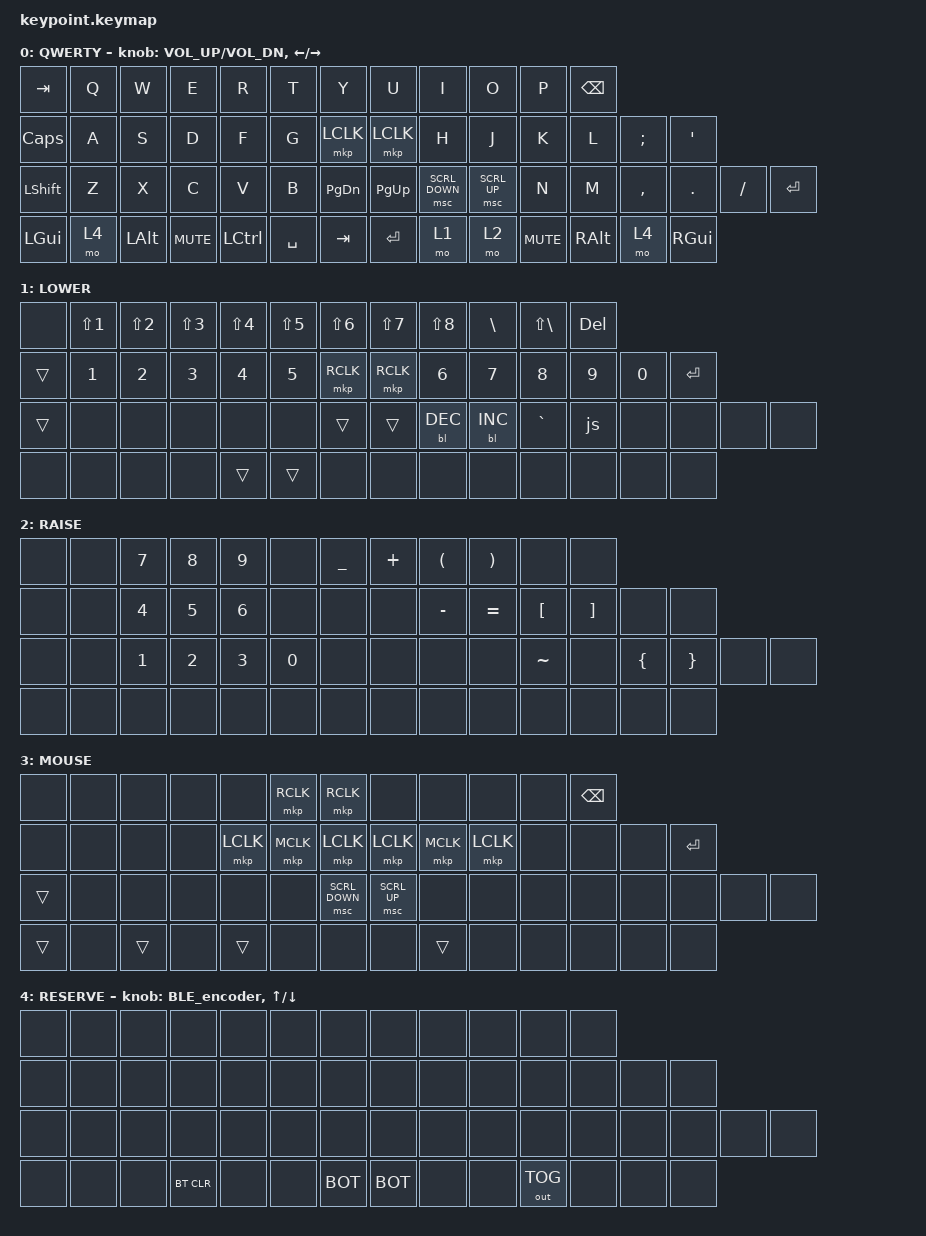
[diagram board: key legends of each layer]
/*
 * Copyright (c) 2025 ZitaoTech
 *
 * SPDX-License-Identifier: MIT
 */

#include <dt-bindings/zmk/mouse.h>
#include <behaviors.dtsi>
#include <dt-bindings/zmk/backlight.h>
#include <dt-bindings/zmk/bt.h>
#include <dt-bindings/zmk/keys.h>
#include <dt-bindings/zmk/outputs.h>
#include <dt-bindings/zmk/pointing.h>
#include <dt-bindings/zmk/ext_power.h>
#include <dt-bindings/zmk/rgb.h>

#define LOWER 1
#define RAISE 2
#define MOUSE 3
#define BOT bootloader

/ {
    behaviors {
        td0: tap_dance_0 {
            compatible = "zmk,behavior-tap-dance";
            #binding-cells = <0>;
            tapping-term-ms = <400>;
            bindings = <&mkp LCLK>, <&bt BT_CLR>;
        };
    };

    behaviors {
        tdRMCLK: tap_dance_R_LMouse {
            compatible = "zmk,behavior-tap-dance";
            #binding-cells = <0>;
            tapping-term-ms = <400>;
            bindings = <&mkp RCLK>, <&mkp MCLK>;
        };
    };

    behaviors {
        hm: homerow_mods {
            compatible = "zmk,behavior-hold-tap";
            #binding-cells = <2>;
            tapping-term-ms = <500>;
            bindings = <&kp &kp>;
        };
    };

    behaviors {
        sp_sc: behavior_spacescroll {
            compatible = "zmk,behavior-hold-tap";
            #binding-cells = <2>;
            flavor = "tap-preferred";     /* 单击优先 */
            tapping-term-ms = <200>;       /* 长按阈值 */
            bindings = <&none &kp>;        /* hold=none, tap=space */
        };
    };

    behaviors {
        LMouse_sc: behavior_LMouse_Scroll {
            compatible = "zmk,behavior-hold-tap";
            #binding-cells = <2>;
            flavor = "tap-preferred";     /* 单击优先 */
            tapping-term-ms = <200>;       /* 长按阈值 */
            bindings = <&none &mkp>;       /* hold=none, tap=Lmouse */
        };
    };

    behaviors {
        M_kp: behavior_mouse_keypress {
            compatible = "zmk,behavior-hold-tap";
            #binding-cells = <2>;
            flavor = "tap-preferred";     /* 单击优先 */
            tapping-term-ms = <200>;       /* 长按阈值 */
            bindings = <&mkp &kp>;         /* hold=mou key press, tap=key*/
        };
    };

    behaviors {
        BLE_encoder: BLE_encoder {
            compatible = "zmk,behavior-sensor-rotate";
            #sensor-binding-cells = <0>;
            bindings = <&bt BT_NXT>, <&bt BT_PRV>;
        };
    };

    combos {
        compatible = "zmk,combos";

        as {
            slow-release;
            bindings = <&kp LEFT_ALT>;
            key-positions = <13 14>;
            layers = <0>;
        };

        sd {
            slow-release;
            bindings = <&kp LEFT_GUI>;
            key-positions = <14 15>;
            layers = <0>;
        };

        df {
            slow-release;
            bindings = <&kp RIGHT_SHIFT>;
            key-positions = <15 16>;
            layers = <0>;
        };

        jk {
            slow-release;
            bindings = <&kp LEFT_SHIFT>;
            key-positions = <21 22>;
            layers = <0>;
        };

        kl {
            slow-release;
            bindings = <&kp RIGHT_GUI>;
            key-positions = <22 23>;
            layers = <0>;
        };

        lsemi {
            slow-release;
            bindings = <&kp RIGHT_ALT>;
            key-positions = <23 24>;
            layers = <0>;
        };
    };

    macros {
        js: js {
            compatible = "zmk,behavior-macro";
            #binding-cells = <0>;
            bindings = <&kp LS(J) &kp S &kp N1 &kp N2 &kp N3 &kp N4 &kp N5 &kp N6>;
        };
    };

    keymap {
        compatible = "zmk,keymap";

        default_layer {
            display-name = "QWERTY";
            bindings = <
&kp TAB       &kp Q  &kp W     &kp E       &kp R      &kp T      &kp Y      &kp U      &kp I           &kp O         &kp P       &kp BSPC
&kp CAPS      &kp A  &kp S     &kp D       &kp F      &kp G      &mkp LCLK  &mkp LCLK  &kp H           &kp J         &kp K       &kp L          &kp SEMI   &kp SQT
&kp LSHFT     &kp Z  &kp X     &kp C       &kp V      &kp B      &kp PG_DN  &kp PG_UP  &msc SCRL_DOWN  &msc SCRL_UP  &kp N       &kp M          &kp COMMA  &kp DOT        &kp FSLH  &kp RETURN
&kp LEFT_GUI  &mo 4  &kp LALT  &kp C_MUTE  &kp LCTRL  &kp SPACE  &kp TAB    &kp ENTER  &mo 1           &mo 2         &kp C_MUTE  &kp RIGHT_ALT  &mo 4      &kp RIGHT_GUI
            >;

            sensor-bindings = <&inc_dec_kp C_VOL_UP C_VOL_DN &inc_dec_kp LEFT RIGHT>;
        };

        lower_layer {
            display-name = "LOWER";
            bindings = <
&none   &kp LS(N1)    &kp LS(N2)    &kp LS(N3)    &kp LS(N4)    &kp LS(N5)    &kp LS(N6)  &kp LS(N7)  &kp LS(N8)    &kp BSLH      &kp LS(BSLH)  &kp DEL
&trans  &kp NUMBER_1  &kp NUMBER_2  &kp NUMBER_3  &kp NUMBER_4  &kp NUMBER_5  &mkp RCLK   &mkp RCLK   &kp NUMBER_6  &kp NUMBER_7  &kp NUMBER_8  &kp NUMBER_9  &kp NUMBER_0  &kp ENTER
&trans  &none         &none         &none         &none         &none         &trans      &trans      &bl BL_DEC    &bl BL_INC    &kp GRAVE     &js           &none         &none      &none  &none
&none   &none         &none         &none         &trans        &trans        &none       &none       &none         &none         &none         &none         &none         &none
            >;
        };

        raise_layer {
            display-name = "RAISE";
            bindings = <
&none  &none  &kp NUMBER_7  &kp NUMBER_8  &kp NUMBER_9  &none         &kp UNDERSCORE  &kp PLUS  &kp LEFT_PARENTHESIS  &kp RIGHT_PARENTHESIS  &none             &none
&none  &none  &kp NUMBER_4  &kp NUMBER_5  &kp NUMBER_6  &none         &none           &none     &kp MINUS             &kp EQUAL              &kp LEFT_BRACKET  &kp RIGHT_BRACKET  &none           &none
&none  &none  &kp NUMBER_1  &kp NUMBER_2  &kp NUMBER_3  &kp NUMBER_0  &none           &none     &none                 &none                  &kp TILDE         &none              &kp LEFT_BRACE  &kp RIGHT_BRACE  &none  &none
&none  &none  &none         &none         &none         &none         &none           &none     &none                 &none                  &none             &none              &none           &none
            >;
        };

        MOUSE_layer {
            display-name = "MOUSE";
            bindings = <
&none   &none  &none   &none  &none      &mkp RCLK  &mkp RCLK       &none         &none      &none      &none  &kp BACKSPACE
&none   &none  &none   &none  &mkp LCLK  &mkp MCLK  &mkp LCLK       &mkp LCLK     &mkp MCLK  &mkp LCLK  &none  &none          &none  &kp RETURN
&trans  &none  &none   &none  &none      &none      &msc SCRL_DOWN  &msc SCRL_UP  &none      &none      &none  &none          &none  &none       &none  &none
&trans  &none  &trans  &none  &trans     &none      &none           &none         &trans     &none      &none  &none          &none  &none
            >;
        };

        RES_layer {
            display-name = "RESERVE";
            bindings = <
&none  &none  &none  &none       &none  &none  &none  &none  &none  &none  &none         &none
&none  &none  &none  &none       &none  &none  &none  &none  &none  &none  &none         &none  &none  &none
&none  &none  &none  &none       &none  &none  &none  &none  &none  &none  &none         &none  &none  &none  &none  &none
&none  &none  &none  &bt BT_CLR  &none  &none  &BOT   &BOT   &none  &none  &out OUT_TOG  &none  &none  &none
            >;

            sensor-bindings = <&BLE_encoder &inc_dec_kp UP DOWN>;
        };
    };
};
